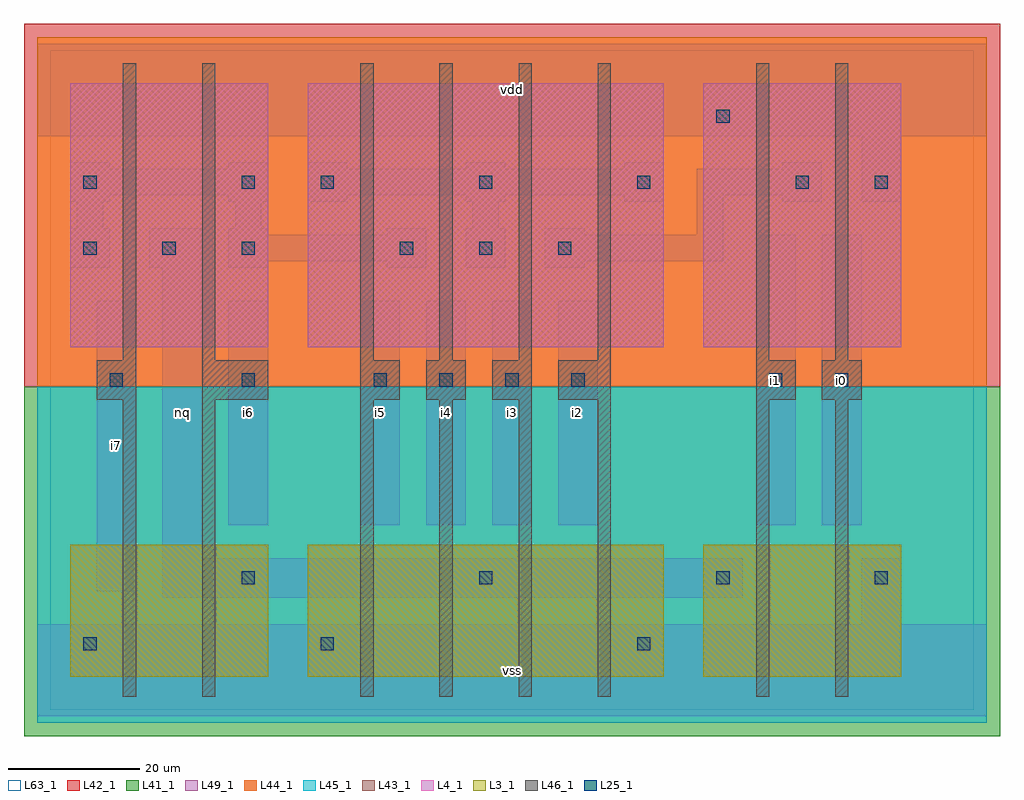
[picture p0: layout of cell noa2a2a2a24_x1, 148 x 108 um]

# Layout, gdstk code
import gdstk
lib = gdstk.Library(unit=1e-6, precision=1e-09)
def R(c, l, rs):  # rectangles x0, y0, x1, y1
    for r in rs: c.add(gdstk.rectangle(r[:2], r[2:], *l))
def A(c, l, x, y, w, h, nx, ny, dx, dy):  # array of equal rectangles
    R(c, l, [(x+i*dx, y+j*dy, x+i*dx+w, y+j*dy+h) for i in range(nx) for j in range(ny)])
L3_1 = (3, 1)
L4_1 = (4, 1)
L25_1 = (25, 1)
L41_1 = (41, 1)
L42_1 = (42, 1)
L43_1 = (43, 1)
L44_1 = (44, 1)
L45_1 = (45, 1)
L46_1 = (46, 1)
L49_1 = (49, 1)
L63_1 = (63, 1)

noa2a2a2a24_x1 = lib.new_cell('noa2a2a2a24_x1')
R(noa2a2a2a24_x1, L3_1, [(3,5,33,25), (39,5,93,25), (99,5,129,25)])
R(noa2a2a2a24_x1, L4_1, [(3,55,33,95), (39,55,93,95), (99,55,129,95)])
A(noa2a2a2a24_x1, L25_1, 29, 19, 2, 2, 3, 1, 36, 0)
A(noa2a2a2a24_x1, L25_1, 9, 49, 2, 2, 3, 1, 20, 0)
A(noa2a2a2a24_x1, L25_1, 59, 49, 2, 2, 3, 1, 10, 0)
A(noa2a2a2a24_x1, L25_1, 5, 69, 2, 2, 3, 1, 12, 0)
A(noa2a2a2a24_x1, L25_1, 53, 69, 2, 2, 3, 1, 12, 0)
A(noa2a2a2a24_x1, L25_1, 41, 79, 2, 2, 4, 1, 24, 0)
R(noa2a2a2a24_x1, L25_1, [(5,9,7,11), (41,9,43,11), (89,9,91,11), (125,19,127,21), (109,49,111,51), (119,49,121,51), (5,79,7,81), (29,79,31,81), (125,79,127,81), (101,89,103,91)])
R(noa2a2a2a24_x1, L41_1, [(-4,-4,144,49)])
R(noa2a2a2a24_x1, L42_1, [(-4,49,144,104)])
R(noa2a2a2a24_x1, L43_1, [(3,5,33,25), (39,5,93,25), (99,5,129,25), (3,55,33,95), (39,55,93,95), (99,55,129,95)])
R(noa2a2a2a24_x1, L44_1, [(-2,49,142,102)])
R(noa2a2a2a24_x1, L45_1, [(-2,-2,142,49)])
A(noa2a2a2a24_x1, L46_1, 47, 2, 2, 45, 4, 2, 12, 51)
A(noa2a2a2a24_x1, L46_1, 47, 47, 6, 6, 3, 1, 10, 0)
R(noa2a2a2a24_x1, L46_1, [(11,2,13,47), (23,2,25,47), (107,2,109,47), (119,2,121,47), (7,47,13,53), (23,47,33,53), (77,47,85,53), (107,47,113,53), (117,47,123,53), (11,53,13,98), (23,53,25,98), (107,53,109,98), (119,53,121,98)])
A(noa2a2a2a24_x1, L49_1, 47, 28, 6, 34, 4, 1, 10, 0)
A(noa2a2a2a24_x1, L49_1, 27, 67, 6, 1, 3, 2, 24, 5)
A(noa2a2a2a24_x1, L49_1, 39, 77, 6, 1, 4, 2, 24, 5)
R(noa2a2a2a24_x1, L49_1, [(-2,-1,142,13), (123,13,129,23), (17,17,105,23), (7,18,13,62), (17,23,23,67), (27,28,33,62), (107,28,113,72), (117,28,123,72), (3,67,9,73), (15,67,23,73), (63,67,69,73), (27,68,57,72), (75,68,102,72), (98,72,102,78), (4,73,8,77), (28,73,32,77), (64,73,68,77), (3,77,9,78), (27,77,33,78), (123,77,129,87), (3,78,33,82), (39,78,93,82), (98,78,117,82), (3,82,9,83), (27,82,33,83), (-2,87,142,101)])
R(noa2a2a2a24_x1, L63_1, [(0,0,140,100)])
noa2a2a2a24_x1.add(gdstk.Label('i7', (10,40), layer=49, texttype=1))
noa2a2a2a24_x1.add(gdstk.Label('i7', (10,40), layer=49, texttype=1))
noa2a2a2a24_x1.add(gdstk.Label('nq', (20,45), layer=49, texttype=1))
noa2a2a2a24_x1.add(gdstk.Label('nq', (20,45), layer=49, texttype=1))
noa2a2a2a24_x1.add(gdstk.Label('i5', (50,45), layer=49, texttype=1))
noa2a2a2a24_x1.add(gdstk.Label('i6', (30,45), layer=49, texttype=1))
noa2a2a2a24_x1.add(gdstk.Label('i5', (50,45), layer=49, texttype=1))
noa2a2a2a24_x1.add(gdstk.Label('i6', (30,45), layer=49, texttype=1))
noa2a2a2a24_x1.add(gdstk.Label('vss', (70,6), layer=49, texttype=1))
noa2a2a2a24_x1.add(gdstk.Label('vss', (70,6), layer=49, texttype=1))
noa2a2a2a24_x1.add(gdstk.Label('i4', (60,45), layer=49, texttype=1))
noa2a2a2a24_x1.add(gdstk.Label('i3', (70,45), layer=49, texttype=1))
noa2a2a2a24_x1.add(gdstk.Label('i2', (80,45), layer=49, texttype=1))
noa2a2a2a24_x1.add(gdstk.Label('i2', (80,45), layer=49, texttype=1))
noa2a2a2a24_x1.add(gdstk.Label('i3', (70,45), layer=49, texttype=1))
noa2a2a2a24_x1.add(gdstk.Label('i4', (60,45), layer=49, texttype=1))
noa2a2a2a24_x1.add(gdstk.Label('vdd', (70,94), layer=49, texttype=1))
noa2a2a2a24_x1.add(gdstk.Label('vdd', (70,94), layer=49, texttype=1))
noa2a2a2a24_x1.add(gdstk.Label('i1', (110,50), layer=49, texttype=1))
noa2a2a2a24_x1.add(gdstk.Label('i1', (110,50), layer=49, texttype=1))
noa2a2a2a24_x1.add(gdstk.Label('i0', (120,50), layer=49, texttype=1))
noa2a2a2a24_x1.add(gdstk.Label('i0', (120,50), layer=49, texttype=1))

lib.write_gds('noa2a2a2a24_x1.gds')
